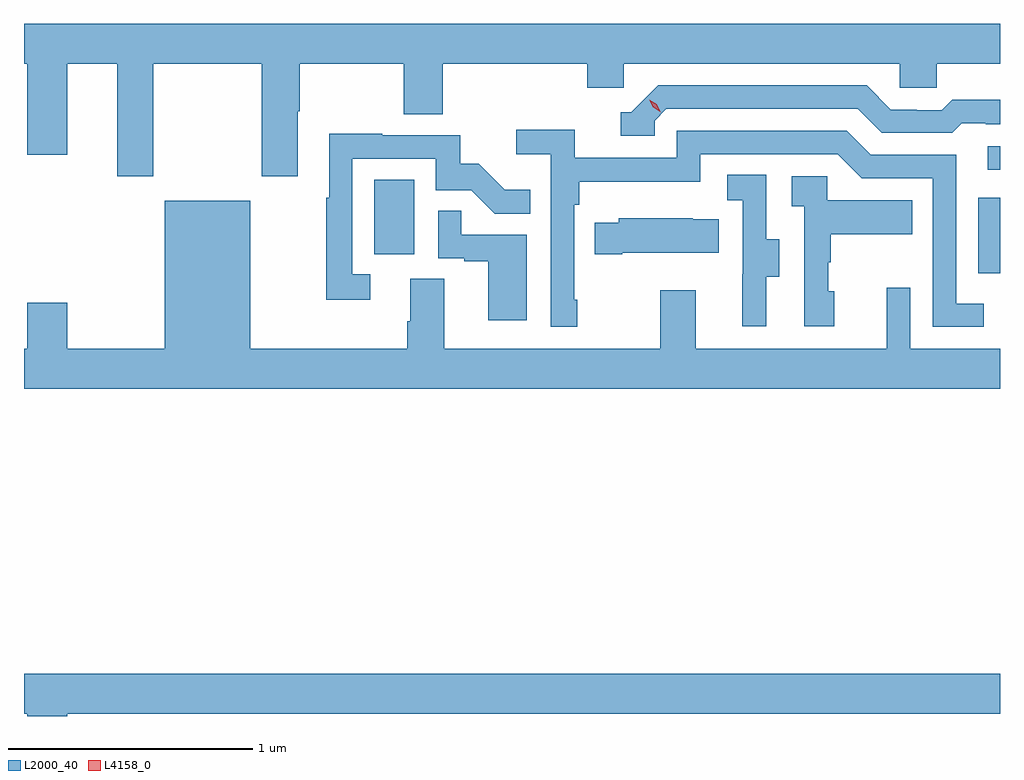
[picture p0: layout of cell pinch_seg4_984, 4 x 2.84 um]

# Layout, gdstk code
import gdstk
lib = gdstk.Library(unit=1e-6, precision=1e-09)
def R(c, l, rs):  # rectangles x0, y0, x1, y1
    for r in rs: c.add(gdstk.rectangle(r[:2], r[2:], *l))
def P(c, l, *ps):  # polygons
    for p in ps: c.add(gdstk.Polygon(p, *l))
L2000_40 = (2000, 40)
L4158_0 = (4158, 0)

pinch_seg4_984 = lib.new_cell('pinch_seg4_984')
R(pinch_seg4_984, L2000_40, [(852.222,787.968,852.311,788.278), (849.746,788.046,849.91,788.353), (852.261,788.394,852.311,788.49)])
P(pinch_seg4_984, L2000_40, [(848.841,788.828),(849.286,788.828),(849.286,788.367),(849.433,788.367),(849.433,788.632),(849.441,788.632),(849.441,788.828),(849.868,788.828),(849.868,788.62),(850.028,788.62),(850.028,788.828),(850.619,788.828),(850.619,788.73),(850.77,788.73),(850.77,788.828),(851.901,788.828),(851.901,788.73),(852.051,788.73),(852.051,788.828),(852.311,788.828),(852.311,788.992),(848.311,788.992),(848.311,788.828),(848.324,788.828),(848.324,788.454),(848.488,788.454),(848.488,788.828),(848.693,788.828),(848.693,788.367),(848.841,788.367)],
  [(850.896,788.595),(850.944,788.643),(851.727,788.643),(851.826,788.544),(852.115,788.544),(852.154,788.583),(852.253,788.583),(852.253,788.58),(852.311,788.58),(852.311,788.68),(852.115,788.68),(852.073,788.637),(851.97,788.637),(851.97,788.64),(851.863,788.64),(851.764,788.739),(850.911,788.739),(850.8,788.628),(850.757,788.628),(850.757,788.532),(850.896,788.532)],
  [(850.579,787.861),(850.566,787.861),(850.566,788.249),(850.586,788.249),(850.586,788.345),(851.082,788.345),(851.082,788.457),(851.646,788.457),(851.745,788.358),(852.036,788.358),(852.036,787.749),(852.245,787.749),(852.245,787.845),(852.132,787.845),(852.132,788.454),(851.782,788.454),(851.683,788.553),(850.986,788.553),(850.986,788.442),(850.568,788.442),(850.568,788.558),(850.329,788.558),(850.329,788.456),(850.47,788.456),(850.47,787.749),(850.579,787.749)],
  [(849.73,787.965),(849.657,787.965),(849.657,788.439),(849.999,788.439),(849.999,788.31),(850.143,788.31),(850.241,788.212),(850.385,788.212),(850.385,788.311),(850.281,788.311),(850.174,788.418),(850.098,788.418),(850.098,788.535),(849.779,788.535),(849.779,788.54),(849.561,788.54),(849.561,788.279),(849.549,788.279),(849.549,787.86),(849.73,787.86)],
  [(851.353,787.954),(851.407,787.954),(851.407,788.109),(851.352,788.109),(851.352,788.372),(851.193,788.372),(851.193,788.269),(851.256,788.269),(851.256,787.965),(851.255,787.965),(851.255,787.752),(851.353,787.752)],
  [(851.632,787.896),(851.607,787.896),(851.607,788.015),(851.617,788.015),(851.617,788.129),(851.951,788.129),(851.951,788.269),(851.604,788.269),(851.604,788.367),(851.457,788.367),(851.457,788.243),(851.508,788.243),(851.508,787.752),(851.632,787.752)],
  [(852.311,787.66),(851.943,787.66),(851.943,787.909),(851.846,787.909),(851.846,787.66),(851.065,787.66),(851.065,787.9),(850.918,787.9),(850.918,787.66),(850.033,787.66),(850.033,787.946),(849.893,787.946),(849.893,787.772),(849.881,787.772),(849.881,787.66),(849.238,787.66),(849.238,788.266),(848.888,788.266),(848.888,787.66),(848.488,787.66),(848.488,787.849),(848.324,787.849),(848.324,787.66),(848.311,787.66),(848.311,787.496),(852.311,787.496)],
  [(850.372,788.127),(850.103,788.127),(850.103,788.225),(850.008,788.225),(850.008,788.031),(850.115,788.031),(850.115,788.019),(850.214,788.019),(850.214,787.776),(850.372,787.776)],
  [(850.762,788.054),(851.159,788.054),(851.159,788.191),(851.051,788.191),(851.051,788.194),(850.749,788.194),(850.749,788.176),(850.651,788.176),(850.651,788.047),(850.762,788.047)],
  [(848.488,786.164),(852.311,786.164),(852.311,786.328),(848.311,786.328),(848.311,786.164),(848.324,786.164),(848.324,786.153),(848.488,786.153)])
P(pinch_seg4_984, L4158_0, [(850.92,788.629),(850.889,788.649),(850.873,788.681),(850.873,788.681),(850.874,788.681),(850.904,788.662),(850.92,788.629),(850.92,788.629)])

lib.write_gds('pinch_seg4_984.gds')
